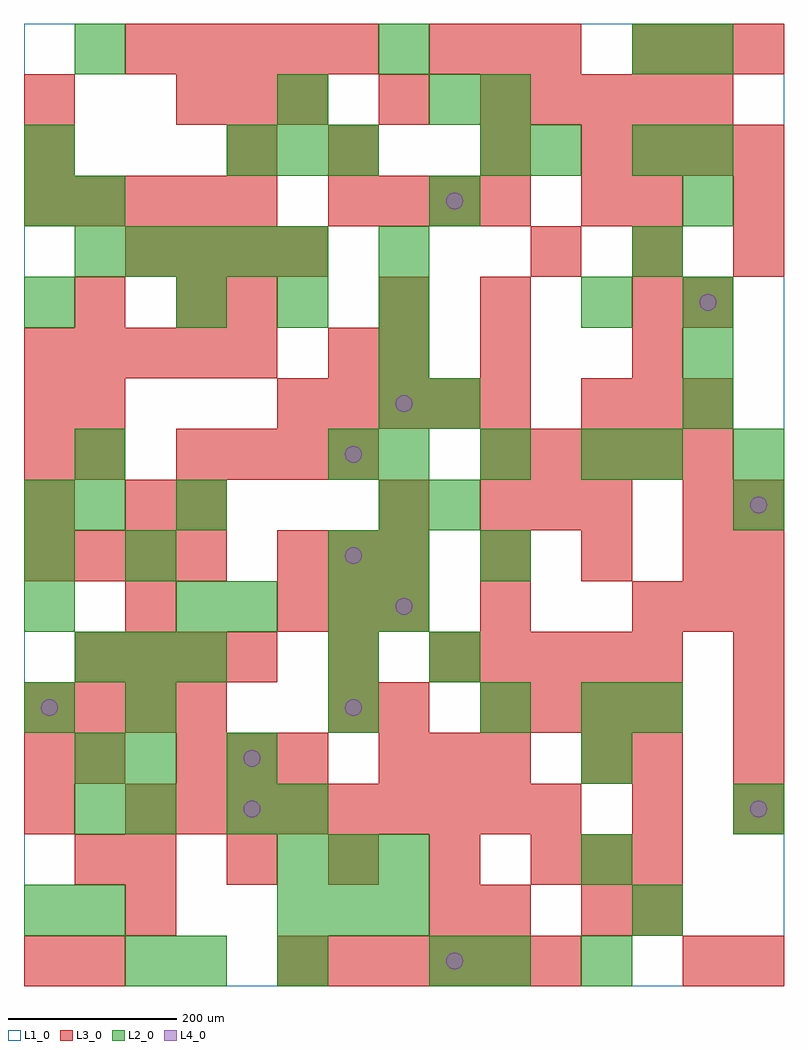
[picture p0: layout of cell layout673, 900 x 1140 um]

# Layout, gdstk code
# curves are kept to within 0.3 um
import gdstk
lib = gdstk.Library(unit=1e-6, precision=1e-09)
def R(c, l, rs):  # rectangles x0, y0, x1, y1
    for r in rs: c.add(gdstk.rectangle(r[:2], r[2:], *l))
def A(c, l, x, y, w, h, nx, ny, dx, dy):  # array of equal rectangles
    R(c, l, [(x+i*dx, y+j*dy, x+i*dx+w, y+j*dy+h) for i in range(nx) for j in range(ny)])
def P(c, l, *ps):  # polygons
    for p in ps: c.add(gdstk.Polygon(p, *l))
L1_0 = (1, 0)
L2_0 = (2, 0)
L3_0 = (3, 0)
L4_0 = (4, 0)

layout673 = lib.new_cell('layout673')
R(layout673, L1_0, [(0,0,900,1140)])
A(layout673, L2_0, 660, 0, 60, 60, 1, 3, 0, 120)
A(layout673, L2_0, 300, 60, 60, 60, 3, 2, 60, 60)
A(layout673, L2_0, 120, 180, 60, 60, 1, 3, 0, 60)
A(layout673, L2_0, 360, 300, 60, 60, 1, 4, 0, 60)
A(layout673, L2_0, 60, 360, 60, 60, 3, 1, 60, 0)
A(layout673, L2_0, 0, 420, 60, 60, 1, 3, 0, 60)
A(layout673, L2_0, 420, 420, 60, 60, 1, 3, 0, 60)
A(layout673, L2_0, 420, 600, 60, 60, 3, 1, 120, 0)
A(layout673, L2_0, 780, 660, 60, 60, 1, 3, 0, 60)
A(layout673, L2_0, 180, 780, 60, 60, 3, 1, 120, 0)
A(layout673, L2_0, 60, 840, 60, 60, 5, 1, 60, 0)
A(layout673, L2_0, 720, 840, 60, 60, 1, 3, 0, 120)
A(layout673, L2_0, 240, 960, 60, 60, 3, 1, 60, 0)
R(layout673, L2_0, [(120,0,180,60), (180,0,240,60), (300,0,360,60), (480,0,540,60), (540,0,600,60), (0,60,60,120), (60,60,120,120), (720,60,780,120), (60,180,120,240), (240,180,300,240), (300,180,360,240), (840,180,900,240), (60,240,120,300), (240,240,300,300), (0,300,60,360), (540,300,600,360), (660,300,720,360), (720,300,780,360), (480,360,540,420), (180,420,240,480), (240,420,300,480), (120,480,180,540), (540,480,600,540), (60,540,120,600), (180,540,240,600), (480,540,540,600), (840,540,900,600), (60,600,120,660), (360,600,420,660), (720,600,780,660), (840,600,900,660), (420,660,480,720), (480,660,540,720), (420,720,480,780), (0,780,60,840), (660,780,720,840), (420,840,480,900), (0,900,60,960), (60,900,120,960), (480,900,540,960), (780,900,840,960), (0,960,60,1020), (540,960,600,1020), (600,960,660,1020), (780,960,840,1020), (300,1020,360,1080), (480,1020,540,1080), (540,1020,600,1080), (60,1080,120,1140), (420,1080,480,1140), (780,1080,840,1140)])
A(layout673, L3_0, 60, 0, 60, 60, 1, 3, 0, 120)
A(layout673, L3_0, 300, 0, 60, 60, 6, 1, 60, 0)
A(layout673, L3_0, 720, 60, 60, 60, 1, 4, 0, 60)
A(layout673, L3_0, 120, 120, 60, 60, 5, 1, 120, 0)
A(layout673, L3_0, 120, 180, 60, 60, 9, 1, 60, 0)
A(layout673, L3_0, 840, 180, 60, 60, 1, 4, 0, 60)
A(layout673, L3_0, 180, 240, 60, 60, 3, 2, 60, 780)
A(layout673, L3_0, 420, 240, 60, 60, 3, 1, 60, 0)
A(layout673, L3_0, 0, 300, 60, 60, 4, 2, 60, 180)
A(layout673, L3_0, 540, 300, 60, 60, 4, 1, 60, 0)
A(layout673, L3_0, 60, 360, 60, 60, 4, 1, 60, 0)
A(layout673, L3_0, 480, 360, 60, 60, 5, 1, 60, 0)
A(layout673, L3_0, 300, 420, 60, 60, 3, 2, 60, 60)
A(layout673, L3_0, 720, 420, 60, 60, 3, 2, 60, 660)
A(layout673, L3_0, 540, 480, 60, 60, 3, 1, 120, 0)
A(layout673, L3_0, 0, 540, 60, 60, 1, 3, 0, 60)
A(layout673, L3_0, 540, 540, 60, 60, 3, 1, 60, 0)
A(layout673, L3_0, 180, 600, 60, 60, 4, 1, 60, 0)
A(layout673, L3_0, 540, 600, 60, 60, 5, 2, 60, 420)
A(layout673, L3_0, 300, 660, 60, 60, 5, 1, 60, 0)
A(layout673, L3_0, 660, 660, 60, 60, 3, 1, 60, 0)
A(layout673, L3_0, 0, 720, 60, 60, 5, 2, 60, 180)
A(layout673, L3_0, 120, 840, 60, 60, 4, 1, 60, 0)
A(layout673, L3_0, 600, 840, 60, 60, 3, 1, 120, 0)
A(layout673, L3_0, 360, 900, 60, 60, 4, 1, 60, 0)
A(layout673, L3_0, 660, 960, 60, 60, 4, 1, 60, 0)
A(layout673, L3_0, 120, 1080, 60, 60, 5, 1, 60, 0)
A(layout673, L3_0, 480, 1080, 60, 60, 3, 1, 60, 0)
R(layout673, L3_0, [(0,0,60,60), (780,0,840,60), (840,0,900,60), (120,60,180,120), (480,60,540,120), (540,60,600,120), (660,60,720,120), (660,120,720,180), (0,180,60,240), (0,240,60,300), (660,240,720,300), (360,300,420,360), (420,300,480,360), (360,360,420,420), (120,420,180,480), (540,420,600,480), (840,480,900,540), (120,540,180,600), (180,540,240,600), (420,540,480,600), (780,540,840,600), (840,540,900,600), (60,600,120,660), (60,660,120,720), (360,720,420,780), (420,720,480,780), (540,720,600,780), (720,720,780,780), (60,780,120,840), (180,780,240,840), (240,780,300,840), (420,780,480,840), (540,780,600,840), (720,780,780,840), (780,780,840,840), (660,900,720,960), (720,900,780,960), (840,900,900,960), (0,960,60,1020), (240,960,300,1020), (360,960,420,1020), (540,960,600,1020), (0,1020,60,1080), (420,1020,480,1080)])
P(layout673, L4_0, [(40,330),(39.239,333.827),(37.071,337.071),(33.827,339.239),(30,340),(26.173,339.239),(22.929,337.071),(20.761,333.827),(20,330),(20.761,326.173),(22.929,322.929),(26.173,320.761),(30,320),(33.827,320.761),(37.071,322.929),(39.239,326.173)],
  [(280,210),(279.239,213.827),(277.071,217.071),(273.827,219.239),(270,220),(266.173,219.239),(262.929,217.071),(260.761,213.827),(260,210),(260.761,206.173),(262.929,202.929),(266.173,200.761),(270,200),(273.827,200.761),(277.071,202.929),(279.239,206.173)],
  [(280,270),(279.239,273.827),(277.071,277.071),(273.827,279.239),(270,280),(266.173,279.239),(262.929,277.071),(260.761,273.827),(260,270),(260.761,266.173),(262.929,262.929),(266.173,260.761),(270,260),(273.827,260.761),(277.071,262.929),(279.239,266.173)],
  [(400,330),(399.239,333.827),(397.071,337.071),(393.827,339.239),(390,340),(386.173,339.239),(382.929,337.071),(380.761,333.827),(380,330),(380.761,326.173),(382.929,322.929),(386.173,320.761),(390,320),(393.827,320.761),(397.071,322.929),(399.239,326.173)],
  [(400,510),(399.239,513.827),(397.071,517.071),(393.827,519.239),(390,520),(386.173,519.239),(382.929,517.071),(380.761,513.827),(380,510),(380.761,506.173),(382.929,502.929),(386.173,500.761),(390,500),(393.827,500.761),(397.071,502.929),(399.239,506.173)],
  [(400,630),(399.239,633.827),(397.071,637.071),(393.827,639.239),(390,640),(386.173,639.239),(382.929,637.071),(380.761,633.827),(380,630),(380.761,626.173),(382.929,622.929),(386.173,620.761),(390,620),(393.827,620.761),(397.071,622.929),(399.239,626.173)],
  [(460,450),(459.239,453.827),(457.071,457.071),(453.827,459.239),(450,460),(446.173,459.239),(442.929,457.071),(440.761,453.827),(440,450),(440.761,446.173),(442.929,442.929),(446.173,440.761),(450,440),(453.827,440.761),(457.071,442.929),(459.239,446.173)],
  [(460,690),(459.239,693.827),(457.071,697.071),(453.827,699.239),(450,700),(446.173,699.239),(442.929,697.071),(440.761,693.827),(440,690),(440.761,686.173),(442.929,682.929),(446.173,680.761),(450,680),(453.827,680.761),(457.071,682.929),(459.239,686.173)],
  [(520,30),(519.239,33.827),(517.071,37.071),(513.827,39.239),(510,40),(506.173,39.239),(502.929,37.071),(500.761,33.827),(500,30),(500.761,26.173),(502.929,22.929),(506.173,20.761),(510,20),(513.827,20.761),(517.071,22.929),(519.239,26.173)],
  [(520,930),(519.239,933.827),(517.071,937.071),(513.827,939.239),(510,940),(506.173,939.239),(502.929,937.071),(500.761,933.827),(500,930),(500.761,926.173),(502.929,922.929),(506.173,920.761),(510,920),(513.827,920.761),(517.071,922.929),(519.239,926.173)],
  [(820,810),(819.239,813.827),(817.071,817.071),(813.827,819.239),(810,820),(806.173,819.239),(802.929,817.071),(800.761,813.827),(800,810),(800.761,806.173),(802.929,802.929),(806.173,800.761),(810,800),(813.827,800.761),(817.071,802.929),(819.239,806.173)],
  [(880,210),(879.239,213.827),(877.071,217.071),(873.827,219.239),(870,220),(866.173,219.239),(862.929,217.071),(860.761,213.827),(860,210),(860.761,206.173),(862.929,202.929),(866.173,200.761),(870,200),(873.827,200.761),(877.071,202.929),(879.239,206.173)],
  [(880,570),(879.239,573.827),(877.071,577.071),(873.827,579.239),(870,580),(866.173,579.239),(862.929,577.071),(860.761,573.827),(860,570),(860.761,566.173),(862.929,562.929),(866.173,560.761),(870,560),(873.827,560.761),(877.071,562.929),(879.239,566.173)])

lib.write_gds('layout673.gds')
